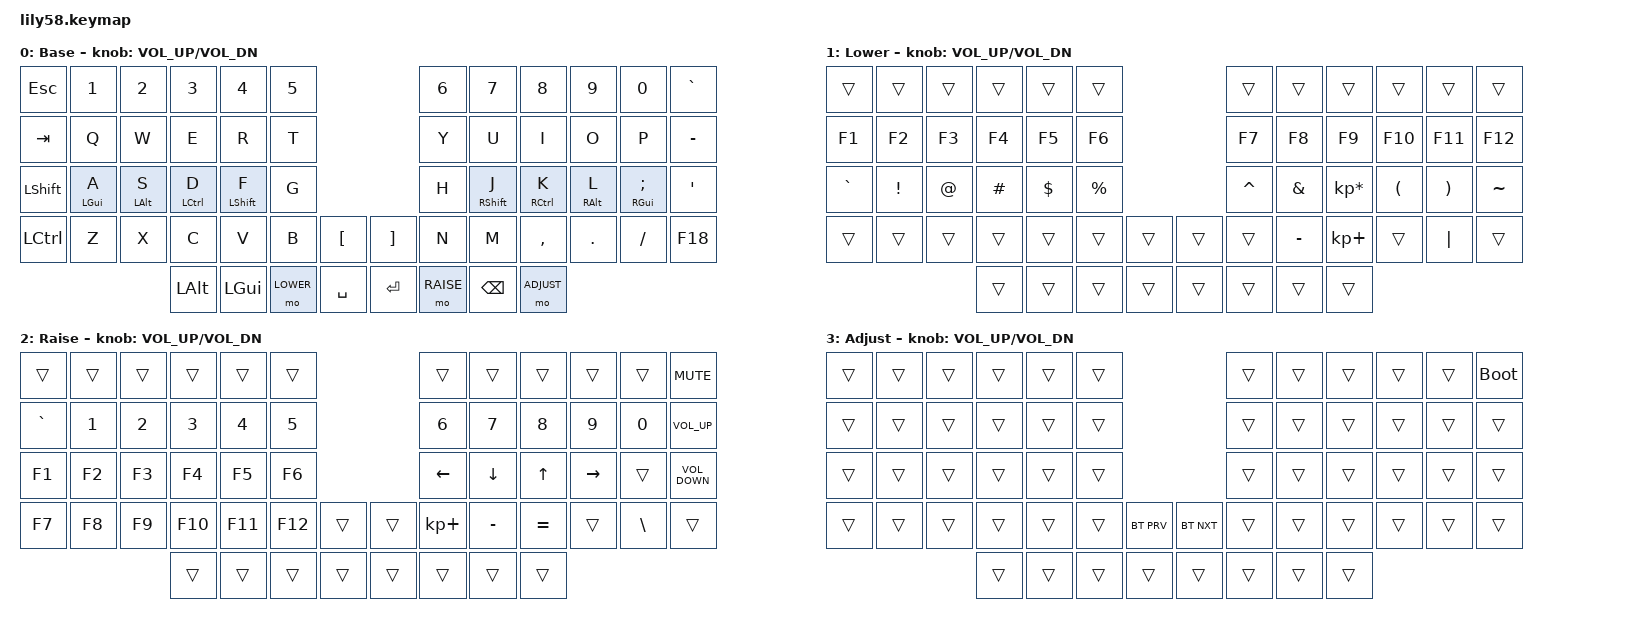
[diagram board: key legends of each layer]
/*
 * Copyright (c) 2020 The ZMK Contributors
 *
 * SPDX-License-Identifier: MIT
 */

#include <behaviors.dtsi>
#include <dt-bindings/zmk/bt.h>
#include <dt-bindings/zmk/keys.h>

#define DEFAULT 0
#define LOWER   1
#define RAISE   2
#define ADJUST  3

#define KEYS_L 0 1 2 3 4 5 12 13 14 15 16 17 24 25 26 27 28 29 36 37 38 39 40 41 42
#define KEYS_R 6 7 8 9 10 11 18 19 20 21 22 23 30 31 32 33 34 35 43 44 45 46 47 48 49
#define THUMBS 50 51 52 53 54 55 56 57

/ {
    behaviors {
        hml: homerow_mods_left {
            compatible = "zmk,behavior-hold-tap";
            #binding-cells = <2>;
            flavor = "balanced";
            tapping-term-ms = <280>;
            quick-tap-ms = <175>;
            require-prior-idle-ms = <150>;
            bindings = <&kp>, <&kp>;
            hold-trigger-key-positions = <KEYS_R THUMBS>;
            hold-trigger-on-release;
        };

        hmr: homerow_mods_right {
            compatible = "zmk,behavior-hold-tap";
            #binding-cells = <2>;
            flavor = "balanced";
            tapping-term-ms = <280>;
            quick-tap-ms = <175>;
            require-prior-idle-ms = <150>;
            bindings = <&kp>, <&kp>;
            hold-trigger-key-positions = <KEYS_L THUMBS>;
            hold-trigger-on-release;
        };
    };

    combos {
        compatible = "zmk,combos";

        combo_bspc {
            timeout-ms = <50>;
            key-positions = <32 33>;
            bindings = <&kp BSPC>;
        };

        combo_del {
            timeout-ms = <50>;
            key-positions = <33 34>;
            bindings = <&kp DEL>;
        };

        left_combo_bspc {
            bindings = <&kp BSPC>;
            key-positions = <27 26>;
            timeout-ms = <50>;
        };

        left_combo_del {
            bindings = <&kp DEL>;
            key-positions = <25 26>;
            timeout-ms = <50>;
        };

        combo_adjust {
            bindings = <&mo ADJUST>;
            key-positions = <52 55>;  // LOWER + RAISE keys
            timeout-ms = <50>;
        };
    };

    keymap {
        compatible = "zmk,keymap";

        default_layer {
            bindings = <
&kp ESC     &kp N1      &kp N2      &kp N3       &kp N4       &kp N5                            &kp N6     &kp N7       &kp N8       &kp N9      &kp N0         &kp GRAVE
&kp TAB     &kp Q       &kp W       &kp E        &kp R        &kp T                             &kp Y      &kp U        &kp I        &kp O       &kp P          &kp MINUS
&kp LSHIFT  &hml LGUI A &hml LALT S &hml LCTRL D &hml LSHFT F &kp G                             &kp H      &hmr RSHFT J &hmr RCTRL K &hmr RALT L &hmr RGUI SEMI &kp SQT
&kp LCTRL   &kp Z       &kp X       &kp C        &kp V        &kp B      &kp LBKT     &kp RBKT  &kp N      &kp M        &kp COMMA    &kp DOT     &kp FSLH       &kp F18
                                    &kp LALT     &kp LGUI     &mo LOWER  &kp SPACE    &kp RET   &mo RAISE  &kp BSPC     &mo ADJUST
            >;

            sensor-bindings = <&inc_dec_kp C_VOL_UP C_VOL_DN>;
            display-name = "Base";
        };

        lower_layer {
            bindings = <
&trans     &trans    &trans  &trans    &trans      &trans                       &trans     &trans     &trans           &trans    &trans    &trans
&kp F1     &kp F2    &kp F3  &kp F4    &kp F5      &kp F6                       &kp F7     &kp F8     &kp F9           &kp F10   &kp F11   &kp F12
&kp GRAVE  &kp EXCL  &kp AT  &kp HASH  &kp DOLLAR  &kp PRCNT                    &kp CARET  &kp AMPS   &kp KP_MULTIPLY  &kp LPAR  &kp RPAR  &kp TILDE
&trans     &trans    &trans  &trans    &trans      &trans     &trans    &trans  &trans     &kp MINUS  &kp KP_PLUS      &trans    &kp PIPE  &trans
                             &trans    &trans      &trans     &trans    &trans  &trans     &trans     &trans
            >;

            sensor-bindings = <&inc_dec_kp C_VOL_UP C_VOL_DN>;
            display-name = "Lower";
        };

        raise_layer {
            bindings = <
&trans     &trans  &trans  &trans   &trans   &trans                     &trans       &trans     &trans     &trans     &trans    &kp K_MUTE
&kp GRAVE  &kp N1  &kp N2  &kp N3   &kp N4   &kp N5                     &kp N6       &kp N7     &kp N8     &kp N9     &kp N0    &kp C_VOLUME_UP
&kp F1     &kp F2  &kp F3  &kp F4   &kp F5   &kp F6                     &kp LEFT     &kp DOWN   &kp UP     &kp RIGHT  &trans    &kp C_VOLUME_DOWN
&kp F7     &kp F8  &kp F9  &kp F10  &kp F11  &kp F12  &trans    &trans  &kp KP_PLUS  &kp MINUS  &kp EQUAL  &trans     &kp BSLH  &trans
                           &trans   &trans   &trans   &trans    &trans  &trans       &trans     &trans
            >;

            sensor-bindings = <&inc_dec_kp C_VOL_UP C_VOL_DN>;
            display-name = "Raise";
        };

        adjust_layer {
            bindings = <
&trans  &trans  &trans  &trans  &trans  &trans                            &trans  &trans  &trans  &trans  &trans  &bootloader
&trans  &trans  &trans  &trans  &trans  &trans                            &trans  &trans  &trans  &trans  &trans  &trans
&trans  &trans  &trans  &trans  &trans  &trans                            &trans  &trans  &trans  &trans  &trans  &trans
&trans  &trans  &trans  &trans  &trans  &trans  &bt BT_PRV    &bt BT_NXT  &trans  &trans  &trans  &trans  &trans  &trans
                        &trans  &trans  &trans  &trans        &trans      &trans  &trans  &trans
            >;

            sensor-bindings = <&inc_dec_kp C_VOL_UP C_VOL_DN>;
            display-name = "Adjust";
        };
    };
};
